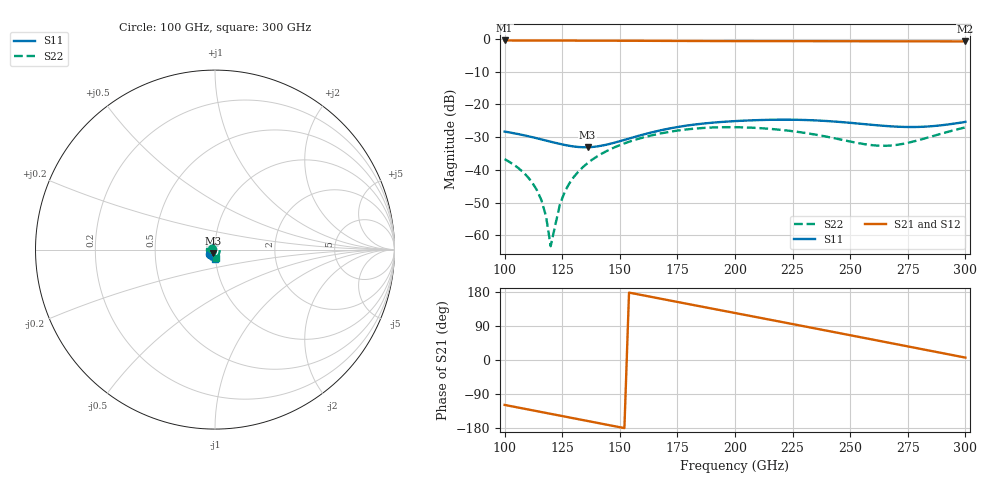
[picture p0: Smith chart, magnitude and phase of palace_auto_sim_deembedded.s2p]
! Created with skrf 1.11.0 (http://scikit-rf.org).
# GHz S DB R 50.0
!freq dBS11 angS11 dBS21 angS21 dBS12 angS12 dBS22 angS22
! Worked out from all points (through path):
!   101 points, 100 GHz to 300 GHz, reference 50 ohm
!   highest |S21| = -0.44 dB at 100 GHz (marker M1); lowest = -0.7 dB at 300 GHz (marker M2)
!   group delay of S21, straight-line fit = 3.26 ps
!   lowest |S11| = -33.1 dB at 136 GHz (marker M3), VSWR 1.05, Z = 49 - j1.96 ohm
!   |S11| at or under -10 dB: start of sweep to end of sweep
!   |S22| runs from -63.3 to -26.9 dB; largest |S21 - S12| = 1.6e-14
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100  -28.27 -136.8  -0.44 -118.5  -0.44 -118.5  -36.70 170.9
108  -29.34 -139.5  -0.45 -127.9  -0.45 -127.9  -40.64 159.2
114  -30.31 -139.6  -0.46 -135.0  -0.46 -135.0  -46.13 152.9
116  -30.66 -139.1  -0.47 -137.3  -0.47 -137.3  -49.27 152.9
118  -31.01 -138.3  -0.47 -139.7  -0.47 -139.7  -54.21 157.9
120  -31.36 -137.2  -0.47 -142.1  -0.47 -142.1  -63.27 -158.3
124  -32.04 -133.8  -0.48 -146.8  -0.48 -146.8  -50.56 -62.7
126  -32.34 -131.6  -0.48 -149.1  -0.48 -149.1  -46.83 -61.6
130  -32.82 -126.0  -0.49 -153.8  -0.49 -153.8  -42.16 -64.7
134  -33.06 -119.3  -0.50 -158.5  -0.50 -158.5  -39.11 -69.7
136  -33.06 -115.7  -0.50 -160.9  -0.50 -160.9  -37.91 -72.5
150  -31.21 -95.8  -0.53 -177.4  -0.53 -177.4  -32.42 -93.7
168  -27.85 -91.7  -0.57 161.4  -0.57 161.4  -28.80 -122.5
184  -25.99 -97.3  -0.61 142.7  -0.61 142.7  -27.28 -149.0
200  -25.07 -103.8  -0.64 124.0  -0.64 124.0  -26.93 -175.9
218  -24.65 -110.5  -0.66 103.0  -0.66 103.0  -27.61 153.0
234  -24.83 -115.7  -0.66 84.2  -0.66 84.2  -29.09 121.5
250  -25.60 -117.8  -0.67 65.4  -0.67 65.4  -31.31 80.1
260  -26.24 -116.1  -0.68 53.6  -0.68 53.6  -32.46 45.3
268  -26.68 -112.4  -0.69 44.2  -0.69 44.2  -32.50 13.4
284  -26.70 -100.9  -0.71 25.3  -0.71 25.3  -30.03 -43.7
300  -25.32 -91.6  -0.73 6.3  -0.73 6.3  -26.98 -84.7
